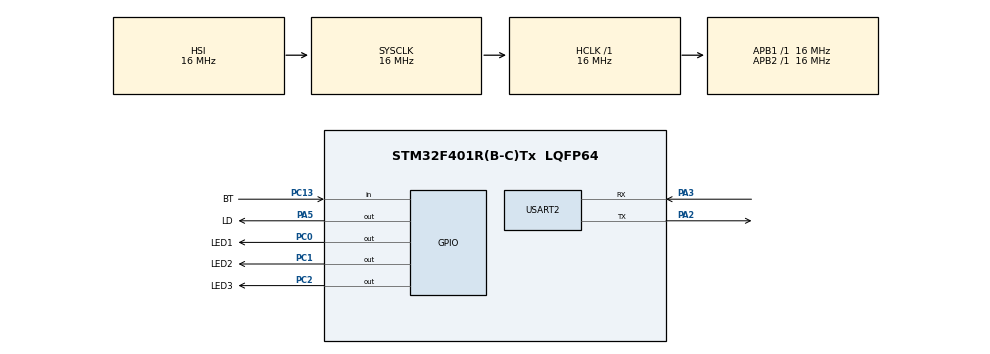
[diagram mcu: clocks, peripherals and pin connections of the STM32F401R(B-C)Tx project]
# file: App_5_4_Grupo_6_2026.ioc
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Mcu.Family=STM32F4
Mcu.Name=STM32F401R(B-C)Tx
Mcu.Package=LQFP64
NVIC.PriorityGroup=NVIC_PRIORITYGROUP_4
PA13.Mode=Trace_Asynchronous_SW
PA13.Signal=SYS_JTMS-SWDIO
PA14.Mode=Trace_Asynchronous_SW
PA14.Signal=SYS_JTCK-SWCLK
PA2.Mode=Asynchronous
PA2.Signal=USART2_TX
PA3.Mode=Asynchronous
PA3.Signal=USART2_RX
PA5.GPIO_Label=LD
PA5.Signal=GPIO_Output
PB3.Mode=Trace_Asynchronous_SW
PB3.Signal=SYS_JTDO-SWO
PC0.GPIO_Label=LED1
PC0.Signal=GPIO_Output
PC1.GPIO_Label=LED2
PC1.Signal=GPIO_Output
PC13-ANTI_TAMP.GPIO_Label=BT
PC13-ANTI_TAMP.Signal=GPIO_Input
PC14-OSC32_IN.Mode=LSE-External-Oscillator
PC14-OSC32_IN.Signal=RCC_OSC32_IN
PC15-OSC32_OUT.Mode=LSE-External-Oscillator
PC15-OSC32_OUT.Signal=RCC_OSC32_OUT
PC2.GPIO_Label=LED3
PC2.Signal=GPIO_Output
PH0\ -\ OSC_IN.Mode=HSE-External-Clock-Source
PH0\ -\ OSC_IN.Signal=RCC_OSC_IN
PH1\ -\ OSC_OUT.Mode=HSE-External-Clock-Source
PH1\ -\ OSC_OUT.Signal=RCC_OSC_OUT
ProjectManager.HeapSize=0x200
ProjectManager.StackSize=0x400
ProjectManager.TargetToolchain=STM32CubeIDE
RCC.AHBFreq_Value=16000000
RCC.APB1Freq_Value=16000000
RCC.APB2Freq_Value=16000000
RCC.CortexFreq_Value=16000000
RCC.HSE_VALUE=25000000
RCC.HSI_VALUE=16000000
RCC.SYSCLKFreq_VALUE=16000000
RCC.VCOOutputFreq_Value=192000000
USART2.VirtualMode=VM_ASYNC
board=custom

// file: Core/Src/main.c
/* USER CODE BEGIN Header */
/**
  ******************************************************************************
  * @file           : main.c
  * @brief          : Main program body
  ******************************************************************************
  * @attention
  *
  * Copyright (c) 2026 STMicroelectronics.
  * All rights reserved.
  *
  * This software is licensed under terms that can be found in the LICENSE file
  * in the root directory of this software component.
  * If no LICENSE file comes with this software, it is provided AS-IS.
  *
  ******************************************************************************
  */
/* USER CODE END Header */
#include "main.h"

/* USER CODE BEGIN Includes */
#include "API_GPIO.h"
#include "API_Button.h"
#include "API_Delay.h"
/* USER CODE END Includes */

/* USER CODE BEGIN PD */
#define LED1 LED1_Pin
#define LED2 LED2_Pin
#define LED3 LED3_Pin
/* USER CODE END PD */

UART_HandleTypeDef huart2;

void SystemClock_Config(void);
static void MX_USART2_UART_Init(void);

int main(void)
{

	  /* USER CODE BEGIN 1 */
	button_t Boton;
	delay_t delayLED;
	tick_t duration[]={100,250,500,1000};
	uint16_t i=0;

	  /* USER CODE END 1 */

	  /* MCU Configuration--------------------------------------------------------*/

	  /* Reset of all peripherals, Initializes the Flash interface and the Systick. */
	  HAL_Init();

	  /* USER CODE BEGIN Init */
	  init_Time_Button_t(&Boton);
	  delayInit(&delayLED,100);
	  /* USER CODE END Init */

	  /* Configure the system clock */
	  SystemClock_Config();

	  /* Initialize all configured peripherals */
	  MX_GPIO_Init();
	  MX_USART2_UART_Init();

	  /* Infinite loop */
	  while (1)
	  {

	    /* USER CODE BEGIN 3 */
		if(delayRead(&delayLED))
		{
			toggleLed_GPIO(LED1|LED2|LED3);
		}
		PressButton(&Boton);
			  if (Boton.press)
				 {
				  if(i<3)
						  i++;
					  else
						  i=0;
					  delayWrite(&delayLED,duration[i]);

				  }
		  }
	  /* USER CODE END 3 */
}

void SystemClock_Config(void)
{
  RCC_OscInitTypeDef RCC_OscInitStruct = {0};
  RCC_ClkInitTypeDef RCC_ClkInitStruct = {0};

  /** Configure the main internal regulator output voltage
  */
  __HAL_RCC_PWR_CLK_ENABLE();
  __HAL_PWR_VOLTAGESCALING_CONFIG(PWR_REGULATOR_VOLTAGE_SCALE2);

  /** Initializes the RCC Oscillators according to the specified parameters
  * in the RCC_OscInitTypeDef structure.
  */
  RCC_OscInitStruct.OscillatorType = RCC_OSCILLATORTYPE_HSI;
  RCC_OscInitStruct.HSIState = RCC_HSI_ON;
  RCC_OscInitStruct.HSICalibrationValue = RCC_HSICALIBRATION_DEFAULT;
  RCC_OscInitStruct.PLL.PLLState = RCC_PLL_NONE;
  if (HAL_RCC_OscConfig(&RCC_OscInitStruct) != HAL_OK)
  {
    Error_Handler();
  }

  /** Initializes the CPU, AHB and APB buses clocks
  */
  RCC_ClkInitStruct.ClockType = RCC_CLOCKTYPE_HCLK|RCC_CLOCKTYPE_SYSCLK
                              |RCC_CLOCKTYPE_PCLK1|RCC_CLOCKTYPE_PCLK2;
  RCC_ClkInitStruct.SYSCLKSource = RCC_SYSCLKSOURCE_HSI;
  RCC_ClkInitStruct.AHBCLKDivider = RCC_SYSCLK_DIV1;
  RCC_ClkInitStruct.APB1CLKDivider = RCC_HCLK_DIV1;
  RCC_ClkInitStruct.APB2CLKDivider = RCC_HCLK_DIV1;

  if (HAL_RCC_ClockConfig(&RCC_ClkInitStruct, FLASH_LATENCY_0) != HAL_OK)
  {
    Error_Handler();
  }
}

static void MX_USART2_UART_Init(void)
{

  huart2.Instance = USART2;
  huart2.Init.BaudRate = 115200;
  huart2.Init.WordLength = UART_WORDLENGTH_8B;
  huart2.Init.StopBits = UART_STOPBITS_1;
  huart2.Init.Parity = UART_PARITY_NONE;
  huart2.Init.Mode = UART_MODE_TX_RX;
  huart2.Init.HwFlowCtl = UART_HWCONTROL_NONE;
  huart2.Init.OverSampling = UART_OVERSAMPLING_16;
  if (HAL_UART_Init(&huart2) != HAL_OK)
  {
    Error_Handler();
  }

}

void Error_Handler(void)
{
  __disable_irq();
  while (1)
  {
  }
}
